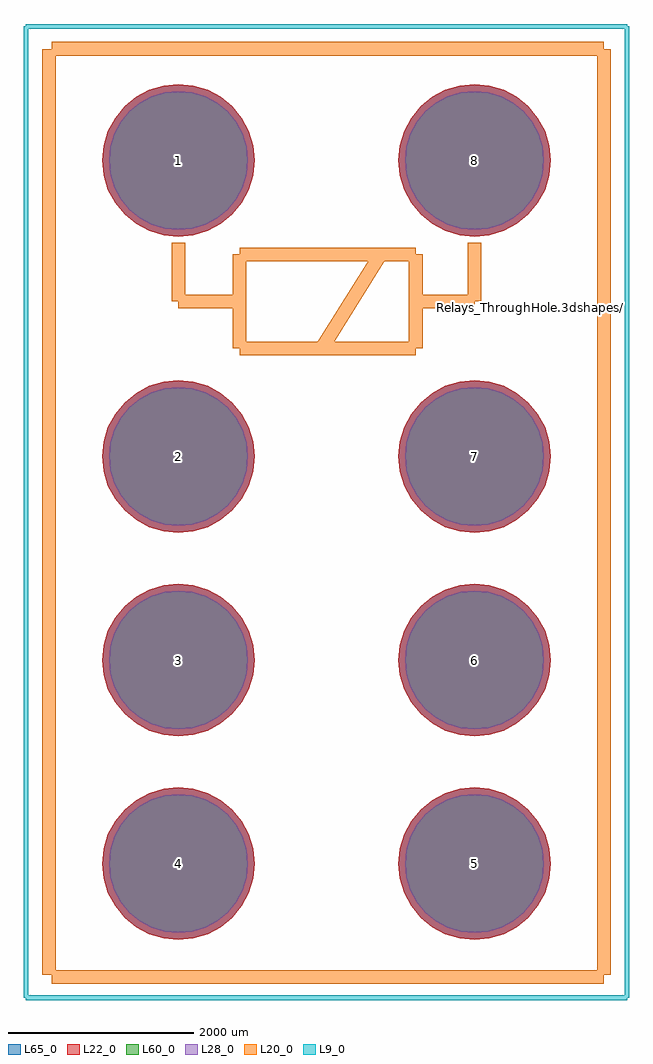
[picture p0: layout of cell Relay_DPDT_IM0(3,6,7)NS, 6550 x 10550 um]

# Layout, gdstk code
import gdstk
lib = gdstk.Library(unit=1e-6, precision=1e-09)
def P(c, l, *ps):  # polygons
    for p in ps: c.add(gdstk.Polygon(p, *l))
L9_0 = (9, 0)
L20_0 = (20, 0)
L22_0 = (22, 0)
L28_0 = (28, 0)
L60_0 = (60, 0)
L65_0 = (65, 0)

relay_dpdt_im0_3_6_7_ns = lib.new_cell('Relay_DPDT_IM0(3,6,7)NS')
P(relay_dpdt_im0_3_6_7_ns, L22_0, [(4025,-7600),(4009.148,-7439.05),(3962.201,-7284.286),(3885.962,-7141.655),(3783.363,-7016.637),(3658.345,-6914.038),(3515.714,-6837.799),(3360.95,-6790.852),(3200,-6775),(3039.05,-6790.852),(2884.286,-6837.799),(2741.655,-6914.038),(2616.637,-7016.637),(2514.038,-7141.655),(2437.799,-7284.286),(2390.852,-7439.05),(2375,-7600),(2390.852,-7760.95),(2437.799,-7915.714),(2514.038,-8058.345),(2616.637,-8183.363),(2741.655,-8285.962),(2884.286,-8362.201),(3039.05,-8409.148),(3200,-8425),(3360.95,-8409.148),(3515.714,-8362.201),(3658.345,-8285.962),(3783.363,-8183.363),(3885.962,-8058.345),(3962.201,-7915.714),(4009.148,-7760.95)],
  [(4025,-5400),(4009.148,-5239.05),(3962.201,-5084.286),(3885.962,-4941.655),(3783.363,-4816.637),(3658.345,-4714.038),(3515.714,-4637.799),(3360.95,-4590.852),(3200,-4575),(3039.05,-4590.852),(2884.286,-4637.799),(2741.655,-4714.038),(2616.637,-4816.637),(2514.038,-4941.655),(2437.799,-5084.286),(2390.852,-5239.05),(2375,-5400),(2390.852,-5560.95),(2437.799,-5715.714),(2514.038,-5858.345),(2616.637,-5983.363),(2741.655,-6085.962),(2884.286,-6162.201),(3039.05,-6209.148),(3200,-6225),(3360.95,-6209.148),(3515.714,-6162.201),(3658.345,-6085.962),(3783.363,-5983.363),(3885.962,-5858.345),(3962.201,-5715.714),(4009.148,-5560.95)],
  [(4025,-3200),(4009.148,-3039.05),(3962.201,-2884.286),(3885.962,-2741.655),(3783.363,-2616.637),(3658.345,-2514.038),(3515.714,-2437.799),(3360.95,-2390.852),(3200,-2375),(3039.05,-2390.852),(2884.286,-2437.799),(2741.655,-2514.038),(2616.637,-2616.637),(2514.038,-2741.655),(2437.799,-2884.286),(2390.852,-3039.05),(2375,-3200),(2390.852,-3360.95),(2437.799,-3515.714),(2514.038,-3658.345),(2616.637,-3783.363),(2741.655,-3885.962),(2884.286,-3962.201),(3039.05,-4009.148),(3200,-4025),(3360.95,-4009.148),(3515.714,-3962.201),(3658.345,-3885.962),(3783.363,-3783.363),(3885.962,-3658.345),(3962.201,-3515.714),(4009.148,-3360.95)],
  [(825,-7600),(809.148,-7439.05),(762.201,-7284.286),(685.962,-7141.655),(583.363,-7016.637),(458.345,-6914.038),(315.714,-6837.799),(160.95,-6790.852),(0,-6775),(-160.95,-6790.852),(-315.714,-6837.799),(-458.345,-6914.038),(-583.363,-7016.637),(-685.962,-7141.655),(-762.201,-7284.286),(-809.148,-7439.05),(-825,-7600),(-809.148,-7760.95),(-762.201,-7915.714),(-685.962,-8058.345),(-583.363,-8183.363),(-458.345,-8285.962),(-315.714,-8362.201),(-160.95,-8409.148),(0,-8425),(160.95,-8409.148),(315.714,-8362.201),(458.345,-8285.962),(583.363,-8183.363),(685.962,-8058.345),(762.201,-7915.714),(809.148,-7760.95)],
  [(825,-5400),(809.148,-5239.05),(762.201,-5084.286),(685.962,-4941.655),(583.363,-4816.637),(458.345,-4714.038),(315.714,-4637.799),(160.95,-4590.852),(0,-4575),(-160.95,-4590.852),(-315.714,-4637.799),(-458.345,-4714.038),(-583.363,-4816.637),(-685.962,-4941.655),(-762.201,-5084.286),(-809.148,-5239.05),(-825,-5400),(-809.148,-5560.95),(-762.201,-5715.714),(-685.962,-5858.345),(-583.363,-5983.363),(-458.345,-6085.962),(-315.714,-6162.201),(-160.95,-6209.148),(0,-6225),(160.95,-6209.148),(315.714,-6162.201),(458.345,-6085.962),(583.363,-5983.363),(685.962,-5858.345),(762.201,-5715.714),(809.148,-5560.95)],
  [(825,-3200),(809.148,-3039.05),(762.201,-2884.286),(685.962,-2741.655),(583.363,-2616.637),(458.345,-2514.038),(315.714,-2437.799),(160.95,-2390.852),(0,-2375),(-160.95,-2390.852),(-315.714,-2437.799),(-458.345,-2514.038),(-583.363,-2616.637),(-685.962,-2741.655),(-762.201,-2884.286),(-809.148,-3039.05),(-825,-3200),(-809.148,-3360.95),(-762.201,-3515.714),(-685.962,-3658.345),(-583.363,-3783.363),(-458.345,-3885.962),(-315.714,-3962.201),(-160.95,-4009.148),(0,-4025),(160.95,-4009.148),(315.714,-3962.201),(458.345,-3885.962),(583.363,-3783.363),(685.962,-3658.345),(762.201,-3515.714),(809.148,-3360.95)],
  [(825,0),(809.148,160.95),(762.201,315.714),(685.962,458.345),(583.363,583.363),(458.345,685.962),(315.714,762.201),(160.95,809.148),(0,825),(-160.95,809.148),(-315.714,762.201),(-458.345,685.962),(-583.363,583.363),(-685.962,458.345),(-762.201,315.714),(-809.148,160.95),(-825,0),(-809.148,-160.95),(-762.201,-315.714),(-685.962,-458.345),(-583.363,-583.363),(-458.345,-685.962),(-315.714,-762.201),(-160.95,-809.148),(0,-825),(160.95,-809.148),(315.714,-762.201),(458.345,-685.962),(583.363,-583.363),(685.962,-458.345),(762.201,-315.714),(809.148,-160.95)],
  [(4025,0),(4009.148,160.95),(3962.201,315.714),(3885.962,458.345),(3783.363,583.363),(3658.345,685.962),(3515.714,762.201),(3360.95,809.148),(3200,825),(3039.05,809.148),(2884.286,762.201),(2741.655,685.962),(2616.637,583.363),(2514.038,458.345),(2437.799,315.714),(2390.852,160.95),(2375,0),(2390.852,-160.95),(2437.799,-315.714),(2514.038,-458.345),(2616.637,-583.363),(2741.655,-685.962),(2884.286,-762.201),(3039.05,-809.148),(3200,-825),(3360.95,-809.148),(3515.714,-762.201),(3658.345,-685.962),(3783.363,-583.363),(3885.962,-458.345),(3962.201,-315.714),(4009.148,-160.95)])
P(relay_dpdt_im0_3_6_7_ns, L28_0, [(3950,-7600),(3935.589,-7453.682),(3892.91,-7312.987),(3823.602,-7183.322),(3730.33,-7069.67),(3616.678,-6976.398),(3487.013,-6907.09),(3346.318,-6864.411),(3200,-6850),(3053.682,-6864.411),(2912.987,-6907.09),(2783.322,-6976.398),(2669.67,-7069.67),(2576.398,-7183.322),(2507.09,-7312.987),(2464.411,-7453.682),(2450,-7600),(2464.411,-7746.318),(2507.09,-7887.013),(2576.398,-8016.678),(2669.67,-8130.33),(2783.322,-8223.602),(2912.987,-8292.91),(3053.682,-8335.589),(3200,-8350),(3346.318,-8335.589),(3487.013,-8292.91),(3616.678,-8223.602),(3730.33,-8130.33),(3823.602,-8016.678),(3892.91,-7887.013),(3935.589,-7746.318)],
  [(3950,-5400),(3935.589,-5253.682),(3892.91,-5112.987),(3823.602,-4983.322),(3730.33,-4869.67),(3616.678,-4776.398),(3487.013,-4707.09),(3346.318,-4664.411),(3200,-4650),(3053.682,-4664.411),(2912.987,-4707.09),(2783.322,-4776.398),(2669.67,-4869.67),(2576.398,-4983.322),(2507.09,-5112.987),(2464.411,-5253.682),(2450,-5400),(2464.411,-5546.318),(2507.09,-5687.013),(2576.398,-5816.678),(2669.67,-5930.33),(2783.322,-6023.602),(2912.987,-6092.91),(3053.682,-6135.589),(3200,-6150),(3346.318,-6135.589),(3487.013,-6092.91),(3616.678,-6023.602),(3730.33,-5930.33),(3823.602,-5816.678),(3892.91,-5687.013),(3935.589,-5546.318)],
  [(3950,-3200),(3935.589,-3053.682),(3892.91,-2912.987),(3823.602,-2783.322),(3730.33,-2669.67),(3616.678,-2576.398),(3487.013,-2507.09),(3346.318,-2464.411),(3200,-2450),(3053.682,-2464.411),(2912.987,-2507.09),(2783.322,-2576.398),(2669.67,-2669.67),(2576.398,-2783.322),(2507.09,-2912.987),(2464.411,-3053.682),(2450,-3200),(2464.411,-3346.318),(2507.09,-3487.013),(2576.398,-3616.678),(2669.67,-3730.33),(2783.322,-3823.602),(2912.987,-3892.91),(3053.682,-3935.589),(3200,-3950),(3346.318,-3935.589),(3487.013,-3892.91),(3616.678,-3823.602),(3730.33,-3730.33),(3823.602,-3616.678),(3892.91,-3487.013),(3935.589,-3346.318)],
  [(750,-7600),(735.589,-7453.682),(692.91,-7312.987),(623.602,-7183.322),(530.33,-7069.67),(416.678,-6976.398),(287.013,-6907.09),(146.318,-6864.411),(0,-6850),(-146.318,-6864.411),(-287.013,-6907.09),(-416.678,-6976.398),(-530.33,-7069.67),(-623.602,-7183.322),(-692.91,-7312.987),(-735.589,-7453.682),(-750,-7600),(-735.589,-7746.318),(-692.91,-7887.013),(-623.602,-8016.678),(-530.33,-8130.33),(-416.678,-8223.602),(-287.013,-8292.91),(-146.318,-8335.589),(0,-8350),(146.318,-8335.589),(287.013,-8292.91),(416.678,-8223.602),(530.33,-8130.33),(623.602,-8016.678),(692.91,-7887.013),(735.589,-7746.318)],
  [(750,-5400),(735.589,-5253.682),(692.91,-5112.987),(623.602,-4983.322),(530.33,-4869.67),(416.678,-4776.398),(287.013,-4707.09),(146.318,-4664.411),(0,-4650),(-146.318,-4664.411),(-287.013,-4707.09),(-416.678,-4776.398),(-530.33,-4869.67),(-623.602,-4983.322),(-692.91,-5112.987),(-735.589,-5253.682),(-750,-5400),(-735.589,-5546.318),(-692.91,-5687.013),(-623.602,-5816.678),(-530.33,-5930.33),(-416.678,-6023.602),(-287.013,-6092.91),(-146.318,-6135.589),(0,-6150),(146.318,-6135.589),(287.013,-6092.91),(416.678,-6023.602),(530.33,-5930.33),(623.602,-5816.678),(692.91,-5687.013),(735.589,-5546.318)],
  [(750,-3200),(735.589,-3053.682),(692.91,-2912.987),(623.602,-2783.322),(530.33,-2669.67),(416.678,-2576.398),(287.013,-2507.09),(146.318,-2464.411),(0,-2450),(-146.318,-2464.411),(-287.013,-2507.09),(-416.678,-2576.398),(-530.33,-2669.67),(-623.602,-2783.322),(-692.91,-2912.987),(-735.589,-3053.682),(-750,-3200),(-735.589,-3346.318),(-692.91,-3487.013),(-623.602,-3616.678),(-530.33,-3730.33),(-416.678,-3823.602),(-287.013,-3892.91),(-146.318,-3935.589),(0,-3950),(146.318,-3935.589),(287.013,-3892.91),(416.678,-3823.602),(530.33,-3730.33),(623.602,-3616.678),(692.91,-3487.013),(735.589,-3346.318)],
  [(750,0),(735.589,146.318),(692.91,287.013),(623.602,416.678),(530.33,530.33),(416.678,623.602),(287.013,692.91),(146.318,735.589),(0,750),(-146.318,735.589),(-287.013,692.91),(-416.678,623.602),(-530.33,530.33),(-623.602,416.678),(-692.91,287.013),(-735.589,146.318),(-750,0),(-735.589,-146.318),(-692.91,-287.013),(-623.602,-416.678),(-530.33,-530.33),(-416.678,-623.602),(-287.013,-692.91),(-146.318,-735.589),(0,-750),(146.318,-735.589),(287.013,-692.91),(416.678,-623.602),(530.33,-530.33),(623.602,-416.678),(692.91,-287.013),(735.589,-146.318)],
  [(3950,0),(3935.589,146.318),(3892.91,287.013),(3823.602,416.678),(3730.33,530.33),(3616.678,623.602),(3487.013,692.91),(3346.318,735.589),(3200,750),(3053.682,735.589),(2912.987,692.91),(2783.322,623.602),(2669.67,530.33),(2576.398,416.678),(2507.09,287.013),(2464.411,146.318),(2450,0),(2464.411,-146.318),(2507.09,-287.013),(2576.398,-416.678),(2669.67,-530.33),(2783.322,-623.602),(2912.987,-692.91),(3053.682,-735.589),(3200,-750),(3346.318,-735.589),(3487.013,-692.91),(3616.678,-623.602),(3730.33,-530.33),(3823.602,-416.678),(3892.91,-287.013),(3935.589,-146.318)])
P(relay_dpdt_im0_3_6_7_ns, L60_0, [(3950,-7600),(3935.589,-7453.682),(3892.91,-7312.987),(3823.602,-7183.322),(3730.33,-7069.67),(3616.678,-6976.398),(3487.013,-6907.09),(3346.318,-6864.411),(3200,-6850),(3053.682,-6864.411),(2912.987,-6907.09),(2783.322,-6976.398),(2669.67,-7069.67),(2576.398,-7183.322),(2507.09,-7312.987),(2464.411,-7453.682),(2450,-7600),(2464.411,-7746.318),(2507.09,-7887.013),(2576.398,-8016.678),(2669.67,-8130.33),(2783.322,-8223.602),(2912.987,-8292.91),(3053.682,-8335.589),(3200,-8350),(3346.318,-8335.589),(3487.013,-8292.91),(3616.678,-8223.602),(3730.33,-8130.33),(3823.602,-8016.678),(3892.91,-7887.013),(3935.589,-7746.318)],
  [(3950,-5400),(3935.589,-5253.682),(3892.91,-5112.987),(3823.602,-4983.322),(3730.33,-4869.67),(3616.678,-4776.398),(3487.013,-4707.09),(3346.318,-4664.411),(3200,-4650),(3053.682,-4664.411),(2912.987,-4707.09),(2783.322,-4776.398),(2669.67,-4869.67),(2576.398,-4983.322),(2507.09,-5112.987),(2464.411,-5253.682),(2450,-5400),(2464.411,-5546.318),(2507.09,-5687.013),(2576.398,-5816.678),(2669.67,-5930.33),(2783.322,-6023.602),(2912.987,-6092.91),(3053.682,-6135.589),(3200,-6150),(3346.318,-6135.589),(3487.013,-6092.91),(3616.678,-6023.602),(3730.33,-5930.33),(3823.602,-5816.678),(3892.91,-5687.013),(3935.589,-5546.318)],
  [(3950,-3200),(3935.589,-3053.682),(3892.91,-2912.987),(3823.602,-2783.322),(3730.33,-2669.67),(3616.678,-2576.398),(3487.013,-2507.09),(3346.318,-2464.411),(3200,-2450),(3053.682,-2464.411),(2912.987,-2507.09),(2783.322,-2576.398),(2669.67,-2669.67),(2576.398,-2783.322),(2507.09,-2912.987),(2464.411,-3053.682),(2450,-3200),(2464.411,-3346.318),(2507.09,-3487.013),(2576.398,-3616.678),(2669.67,-3730.33),(2783.322,-3823.602),(2912.987,-3892.91),(3053.682,-3935.589),(3200,-3950),(3346.318,-3935.589),(3487.013,-3892.91),(3616.678,-3823.602),(3730.33,-3730.33),(3823.602,-3616.678),(3892.91,-3487.013),(3935.589,-3346.318)],
  [(750,-7600),(735.589,-7453.682),(692.91,-7312.987),(623.602,-7183.322),(530.33,-7069.67),(416.678,-6976.398),(287.013,-6907.09),(146.318,-6864.411),(0,-6850),(-146.318,-6864.411),(-287.013,-6907.09),(-416.678,-6976.398),(-530.33,-7069.67),(-623.602,-7183.322),(-692.91,-7312.987),(-735.589,-7453.682),(-750,-7600),(-735.589,-7746.318),(-692.91,-7887.013),(-623.602,-8016.678),(-530.33,-8130.33),(-416.678,-8223.602),(-287.013,-8292.91),(-146.318,-8335.589),(0,-8350),(146.318,-8335.589),(287.013,-8292.91),(416.678,-8223.602),(530.33,-8130.33),(623.602,-8016.678),(692.91,-7887.013),(735.589,-7746.318)],
  [(750,-5400),(735.589,-5253.682),(692.91,-5112.987),(623.602,-4983.322),(530.33,-4869.67),(416.678,-4776.398),(287.013,-4707.09),(146.318,-4664.411),(0,-4650),(-146.318,-4664.411),(-287.013,-4707.09),(-416.678,-4776.398),(-530.33,-4869.67),(-623.602,-4983.322),(-692.91,-5112.987),(-735.589,-5253.682),(-750,-5400),(-735.589,-5546.318),(-692.91,-5687.013),(-623.602,-5816.678),(-530.33,-5930.33),(-416.678,-6023.602),(-287.013,-6092.91),(-146.318,-6135.589),(0,-6150),(146.318,-6135.589),(287.013,-6092.91),(416.678,-6023.602),(530.33,-5930.33),(623.602,-5816.678),(692.91,-5687.013),(735.589,-5546.318)],
  [(750,-3200),(735.589,-3053.682),(692.91,-2912.987),(623.602,-2783.322),(530.33,-2669.67),(416.678,-2576.398),(287.013,-2507.09),(146.318,-2464.411),(0,-2450),(-146.318,-2464.411),(-287.013,-2507.09),(-416.678,-2576.398),(-530.33,-2669.67),(-623.602,-2783.322),(-692.91,-2912.987),(-735.589,-3053.682),(-750,-3200),(-735.589,-3346.318),(-692.91,-3487.013),(-623.602,-3616.678),(-530.33,-3730.33),(-416.678,-3823.602),(-287.013,-3892.91),(-146.318,-3935.589),(0,-3950),(146.318,-3935.589),(287.013,-3892.91),(416.678,-3823.602),(530.33,-3730.33),(623.602,-3616.678),(692.91,-3487.013),(735.589,-3346.318)],
  [(750,0),(735.589,146.318),(692.91,287.013),(623.602,416.678),(530.33,530.33),(416.678,623.602),(287.013,692.91),(146.318,735.589),(0,750),(-146.318,735.589),(-287.013,692.91),(-416.678,623.602),(-530.33,530.33),(-623.602,416.678),(-692.91,287.013),(-735.589,146.318),(-750,0),(-735.589,-146.318),(-692.91,-287.013),(-623.602,-416.678),(-530.33,-530.33),(-416.678,-623.602),(-287.013,-692.91),(-146.318,-735.589),(0,-750),(146.318,-735.589),(287.013,-692.91),(416.678,-623.602),(530.33,-530.33),(623.602,-416.678),(692.91,-287.013),(735.589,-146.318)],
  [(3950,0),(3935.589,146.318),(3892.91,287.013),(3823.602,416.678),(3730.33,530.33),(3616.678,623.602),(3487.013,692.91),(3346.318,735.589),(3200,750),(3053.682,735.589),(2912.987,692.91),(2783.322,623.602),(2669.67,530.33),(2576.398,416.678),(2507.09,287.013),(2464.411,146.318),(2450,0),(2464.411,-146.318),(2507.09,-287.013),(2576.398,-416.678),(2669.67,-530.33),(2783.322,-623.602),(2912.987,-692.91),(3053.682,-735.589),(3200,-750),(3346.318,-735.589),(3487.013,-692.91),(3616.678,-623.602),(3730.33,-530.33),(3823.602,-416.678),(3892.91,-287.013),(3935.589,-146.318)])
P(relay_dpdt_im0_3_6_7_ns, L65_0, [(4025,-7600),(4009.148,-7439.05),(3962.201,-7284.286),(3885.962,-7141.655),(3783.363,-7016.637),(3658.345,-6914.038),(3515.714,-6837.799),(3360.95,-6790.852),(3200,-6775),(3039.05,-6790.852),(2884.286,-6837.799),(2741.655,-6914.038),(2616.637,-7016.637),(2514.038,-7141.655),(2437.799,-7284.286),(2390.852,-7439.05),(2375,-7600),(2390.852,-7760.95),(2437.799,-7915.714),(2514.038,-8058.345),(2616.637,-8183.363),(2741.655,-8285.962),(2884.286,-8362.201),(3039.05,-8409.148),(3200,-8425),(3360.95,-8409.148),(3515.714,-8362.201),(3658.345,-8285.962),(3783.363,-8183.363),(3885.962,-8058.345),(3962.201,-7915.714),(4009.148,-7760.95)],
  [(4025,-5400),(4009.148,-5239.05),(3962.201,-5084.286),(3885.962,-4941.655),(3783.363,-4816.637),(3658.345,-4714.038),(3515.714,-4637.799),(3360.95,-4590.852),(3200,-4575),(3039.05,-4590.852),(2884.286,-4637.799),(2741.655,-4714.038),(2616.637,-4816.637),(2514.038,-4941.655),(2437.799,-5084.286),(2390.852,-5239.05),(2375,-5400),(2390.852,-5560.95),(2437.799,-5715.714),(2514.038,-5858.345),(2616.637,-5983.363),(2741.655,-6085.962),(2884.286,-6162.201),(3039.05,-6209.148),(3200,-6225),(3360.95,-6209.148),(3515.714,-6162.201),(3658.345,-6085.962),(3783.363,-5983.363),(3885.962,-5858.345),(3962.201,-5715.714),(4009.148,-5560.95)],
  [(4025,-3200),(4009.148,-3039.05),(3962.201,-2884.286),(3885.962,-2741.655),(3783.363,-2616.637),(3658.345,-2514.038),(3515.714,-2437.799),(3360.95,-2390.852),(3200,-2375),(3039.05,-2390.852),(2884.286,-2437.799),(2741.655,-2514.038),(2616.637,-2616.637),(2514.038,-2741.655),(2437.799,-2884.286),(2390.852,-3039.05),(2375,-3200),(2390.852,-3360.95),(2437.799,-3515.714),(2514.038,-3658.345),(2616.637,-3783.363),(2741.655,-3885.962),(2884.286,-3962.201),(3039.05,-4009.148),(3200,-4025),(3360.95,-4009.148),(3515.714,-3962.201),(3658.345,-3885.962),(3783.363,-3783.363),(3885.962,-3658.345),(3962.201,-3515.714),(4009.148,-3360.95)],
  [(825,-7600),(809.148,-7439.05),(762.201,-7284.286),(685.962,-7141.655),(583.363,-7016.637),(458.345,-6914.038),(315.714,-6837.799),(160.95,-6790.852),(0,-6775),(-160.95,-6790.852),(-315.714,-6837.799),(-458.345,-6914.038),(-583.363,-7016.637),(-685.962,-7141.655),(-762.201,-7284.286),(-809.148,-7439.05),(-825,-7600),(-809.148,-7760.95),(-762.201,-7915.714),(-685.962,-8058.345),(-583.363,-8183.363),(-458.345,-8285.962),(-315.714,-8362.201),(-160.95,-8409.148),(0,-8425),(160.95,-8409.148),(315.714,-8362.201),(458.345,-8285.962),(583.363,-8183.363),(685.962,-8058.345),(762.201,-7915.714),(809.148,-7760.95)],
  [(825,-5400),(809.148,-5239.05),(762.201,-5084.286),(685.962,-4941.655),(583.363,-4816.637),(458.345,-4714.038),(315.714,-4637.799),(160.95,-4590.852),(0,-4575),(-160.95,-4590.852),(-315.714,-4637.799),(-458.345,-4714.038),(-583.363,-4816.637),(-685.962,-4941.655),(-762.201,-5084.286),(-809.148,-5239.05),(-825,-5400),(-809.148,-5560.95),(-762.201,-5715.714),(-685.962,-5858.345),(-583.363,-5983.363),(-458.345,-6085.962),(-315.714,-6162.201),(-160.95,-6209.148),(0,-6225),(160.95,-6209.148),(315.714,-6162.201),(458.345,-6085.962),(583.363,-5983.363),(685.962,-5858.345),(762.201,-5715.714),(809.148,-5560.95)],
  [(825,-3200),(809.148,-3039.05),(762.201,-2884.286),(685.962,-2741.655),(583.363,-2616.637),(458.345,-2514.038),(315.714,-2437.799),(160.95,-2390.852),(0,-2375),(-160.95,-2390.852),(-315.714,-2437.799),(-458.345,-2514.038),(-583.363,-2616.637),(-685.962,-2741.655),(-762.201,-2884.286),(-809.148,-3039.05),(-825,-3200),(-809.148,-3360.95),(-762.201,-3515.714),(-685.962,-3658.345),(-583.363,-3783.363),(-458.345,-3885.962),(-315.714,-3962.201),(-160.95,-4009.148),(0,-4025),(160.95,-4009.148),(315.714,-3962.201),(458.345,-3885.962),(583.363,-3783.363),(685.962,-3658.345),(762.201,-3515.714),(809.148,-3360.95)],
  [(825,0),(809.148,160.95),(762.201,315.714),(685.962,458.345),(583.363,583.363),(458.345,685.962),(315.714,762.201),(160.95,809.148),(0,825),(-160.95,809.148),(-315.714,762.201),(-458.345,685.962),(-583.363,583.363),(-685.962,458.345),(-762.201,315.714),(-809.148,160.95),(-825,0),(-809.148,-160.95),(-762.201,-315.714),(-685.962,-458.345),(-583.363,-583.363),(-458.345,-685.962),(-315.714,-762.201),(-160.95,-809.148),(0,-825),(160.95,-809.148),(315.714,-762.201),(458.345,-685.962),(583.363,-583.363),(685.962,-458.345),(762.201,-315.714),(809.148,-160.95)],
  [(4025,0),(4009.148,160.95),(3962.201,315.714),(3885.962,458.345),(3783.363,583.363),(3658.345,685.962),(3515.714,762.201),(3360.95,809.148),(3200,825),(3039.05,809.148),(2884.286,762.201),(2741.655,685.962),(2616.637,583.363),(2514.038,458.345),(2437.799,315.714),(2390.852,160.95),(2375,0),(2390.852,-160.95),(2437.799,-315.714),(2514.038,-458.345),(2616.637,-583.363),(2741.655,-685.962),(2884.286,-762.201),(3039.05,-809.148),(3200,-825),(3360.95,-809.148),(3515.714,-762.201),(3658.345,-685.962),(3783.363,-583.363),(3885.962,-458.345),(3962.201,-315.714),(4009.148,-160.95)])
relay_dpdt_im0_3_6_7_ns.add(gdstk.FlexPath([(4597,1206.5),(-1372,1206.5)], 149.998, ends="flush", simple_path=True, layer=20, datatype=0))  # L20_0
relay_dpdt_im0_3_6_7_ns.add(gdstk.FlexPath([(-1400,1200),(-1400,-8800)], 149.998, ends="flush", simple_path=True, layer=20, datatype=0))  # L20_0
relay_dpdt_im0_3_6_7_ns.add(gdstk.FlexPath([(4597,-8826.5),(-1372,-8826.5)], 149.998, ends="flush", simple_path=True, layer=20, datatype=0))  # L20_0
relay_dpdt_im0_3_6_7_ns.add(gdstk.FlexPath([(4600,1200),(4600,-8800)], 149.998, ends="flush", simple_path=True, layer=20, datatype=0))  # L20_0
relay_dpdt_im0_3_6_7_ns.add(gdstk.FlexPath([(-1650,1450),(4850,1450)], 50, ends="flush", simple_path=True, layer=9, datatype=0))  # L9_0
relay_dpdt_im0_3_6_7_ns.add(gdstk.FlexPath([(-1650,-9050),(-1650,1450)], 50, ends="flush", simple_path=True, layer=9, datatype=0))  # L9_0
relay_dpdt_im0_3_6_7_ns.add(gdstk.FlexPath([(4850,-9050),(-1650,-9050)], 50, ends="flush", simple_path=True, layer=9, datatype=0))  # L9_0
relay_dpdt_im0_3_6_7_ns.add(gdstk.FlexPath([(4850,1450),(4850,-9050)], 50, ends="flush", simple_path=True, layer=9, datatype=0))  # L9_0
relay_dpdt_im0_3_6_7_ns.add(gdstk.FlexPath([(2565,-1016),(2565,-2032)], 149.998, ends="flush", simple_path=True, layer=20, datatype=0))  # L20_0
relay_dpdt_im0_3_6_7_ns.add(gdstk.FlexPath([(660,-2032),(2565,-2032)], 149.998, ends="flush", simple_path=True, layer=20, datatype=0))  # L20_0
relay_dpdt_im0_3_6_7_ns.add(gdstk.FlexPath([(660,-1016),(660,-2032)], 149.998, ends="flush", simple_path=True, layer=20, datatype=0))  # L20_0
relay_dpdt_im0_3_6_7_ns.add(gdstk.FlexPath([(2565,-1016),(660,-1016)], 149.998, ends="flush", simple_path=True, layer=20, datatype=0))  # L20_0
relay_dpdt_im0_3_6_7_ns.add(gdstk.FlexPath([(3200,-1524),(2565,-1524)], 149.998, ends="flush", simple_path=True, layer=20, datatype=0))  # L20_0
relay_dpdt_im0_3_6_7_ns.add(gdstk.FlexPath([(3200,-889),(3200,-1524)], 149.998, ends="flush", simple_path=True, layer=20, datatype=0))  # L20_0
relay_dpdt_im0_3_6_7_ns.add(gdstk.FlexPath([(0,-1524),(660,-1524)], 149.998, ends="flush", simple_path=True, layer=20, datatype=0))  # L20_0
relay_dpdt_im0_3_6_7_ns.add(gdstk.FlexPath([(0,-889),(0,-1524)], 149.998, ends="flush", simple_path=True, layer=20, datatype=0))  # L20_0
relay_dpdt_im0_3_6_7_ns.add(gdstk.FlexPath([(2184,-1016),(1549,-2032)], 149.998, ends="flush", simple_path=True, layer=20, datatype=0))  # L20_0
relay_dpdt_im0_3_6_7_ns.add(gdstk.Label('Relays_ThroughHole.3dshapes/Relay_DPDT_IM0(3,6,7)NS.wrl', (3810,-1587.5), layer=12, texttype=0))
relay_dpdt_im0_3_6_7_ns.add(gdstk.Label('5', (3200,-7600), layer=28, texttype=0))
relay_dpdt_im0_3_6_7_ns.add(gdstk.Label('6', (3200,-5400), layer=28, texttype=0))
relay_dpdt_im0_3_6_7_ns.add(gdstk.Label('7', (3200,-3200), layer=28, texttype=0))
relay_dpdt_im0_3_6_7_ns.add(gdstk.Label('4', (0,-7600), layer=28, texttype=0))
relay_dpdt_im0_3_6_7_ns.add(gdstk.Label('3', (0,-5400), layer=28, texttype=0))
relay_dpdt_im0_3_6_7_ns.add(gdstk.Label('2', (0,-3200), layer=28, texttype=0))
relay_dpdt_im0_3_6_7_ns.add(gdstk.Label('1', (0,0), layer=28, texttype=0))
relay_dpdt_im0_3_6_7_ns.add(gdstk.Label('8', (3200,0), layer=28, texttype=0))
relay_dpdt_im0_3_6_7_ns.add(gdstk.Label('type', (1950,-10250), layer=9, texttype=0))
relay_dpdt_im0_3_6_7_ns.add(gdstk.Label('devicename', (2150,2200), layer=9, texttype=0))

lib.write_gds('Relay_DPDT_IM0_3_6_7_NS.gds')
